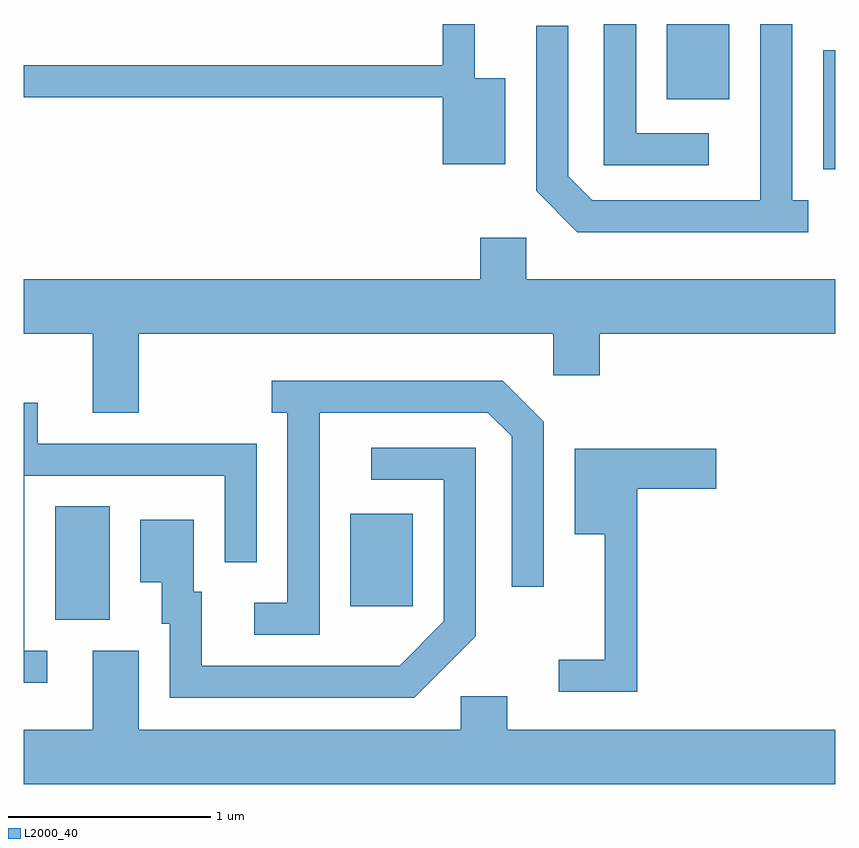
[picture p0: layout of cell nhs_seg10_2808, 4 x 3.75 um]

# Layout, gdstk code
import gdstk
lib = gdstk.Library(unit=1e-6, precision=1e-09)
def R(c, l, rs):  # rectangles x0, y0, x1, y1
    for r in rs: c.add(gdstk.rectangle(r[:2], r[2:], *l))
def P(c, l, *ps):  # polygons
    for p in ps: c.add(gdstk.Polygon(p, *l))
L2000_40 = (2000, 40)

nhs_seg10_2808 = lib.new_cell('nhs_seg10_2808')
R(nhs_seg10_2808, L2000_40, [(267.766,2143.586,268.034,2144.144), (269.221,2143.651,269.529,2144.109), (271.551,2145.806,271.611,2146.393), (270.781,2146.151,271.089,2146.522)])
P(nhs_seg10_2808, L2000_40, [(269.984,2146.254),(269.834,2146.254),(269.834,2146.522),(269.676,2146.522),(269.676,2146.319),(267.611,2146.319),(267.611,2146.161),(269.676,2146.161),(269.676,2145.831),(269.984,2145.831)],
  [(270.988,2145.984),(270.629,2145.984),(270.629,2146.522),(270.471,2146.522),(270.471,2145.826),(270.988,2145.826)],
  [(271.478,2145.654),(271.399,2145.654),(271.399,2146.522),(271.241,2146.522),(271.241,2145.654),(270.412,2145.654),(270.294,2145.772),(270.294,2146.513),(270.136,2146.513),(270.136,2145.699),(270.339,2145.496),(271.478,2145.496)],
  [(268.179,2144.996),(270.221,2144.996),(270.221,2144.791),(270.449,2144.791),(270.449,2144.996),(271.611,2144.996),(271.611,2145.264),(270.089,2145.264),(270.089,2145.469),(269.861,2145.469),(269.861,2145.264),(267.611,2145.264),(267.611,2144.996),(267.951,2144.996),(267.951,2144.606),(268.179,2144.606)],
  [(269.069,2144.606),(269.899,2144.606),(270.016,2144.489),(270.016,2143.748),(270.174,2143.748),(270.174,2144.562),(269.972,2144.764),(268.833,2144.764),(268.833,2144.606),(268.911,2144.606),(268.911,2143.669),(268.748,2143.669),(268.748,2143.511),(269.069,2143.511)],
  [(267.728,2143.434),(267.614,2143.434),(267.614,2144.296),(268.601,2144.296),(268.601,2143.868),(268.759,2143.868),(268.759,2144.454),(267.679,2144.454),(267.679,2144.654),(267.611,2144.654),(267.611,2143.276),(267.728,2143.276)],
  [(269.839,2143.504),(269.839,2144.434),(269.323,2144.434),(269.323,2144.276),(269.681,2144.276),(269.681,2143.577),(269.464,2143.359),(268.489,2143.359),(268.489,2143.724),(268.449,2143.724),(268.449,2144.079),(268.186,2144.079),(268.186,2143.771),(268.291,2143.771),(268.291,2143.566),(268.331,2143.566),(268.331,2143.201),(269.537,2143.201)],
  [(270.634,2144.231),(271.024,2144.231),(271.024,2144.429),(270.326,2144.429),(270.326,2144.006),(270.476,2144.006),(270.476,2143.389),(270.248,2143.389),(270.248,2143.231),(270.634,2143.231)],
  [(271.611,2143.044),(269.994,2143.044),(269.994,2143.209),(269.766,2143.209),(269.766,2143.044),(268.179,2143.044),(268.179,2143.434),(267.951,2143.434),(267.951,2143.044),(267.611,2143.044),(267.611,2142.776),(271.611,2142.776)])

lib.write_gds('nhs_seg10_2808.gds')
